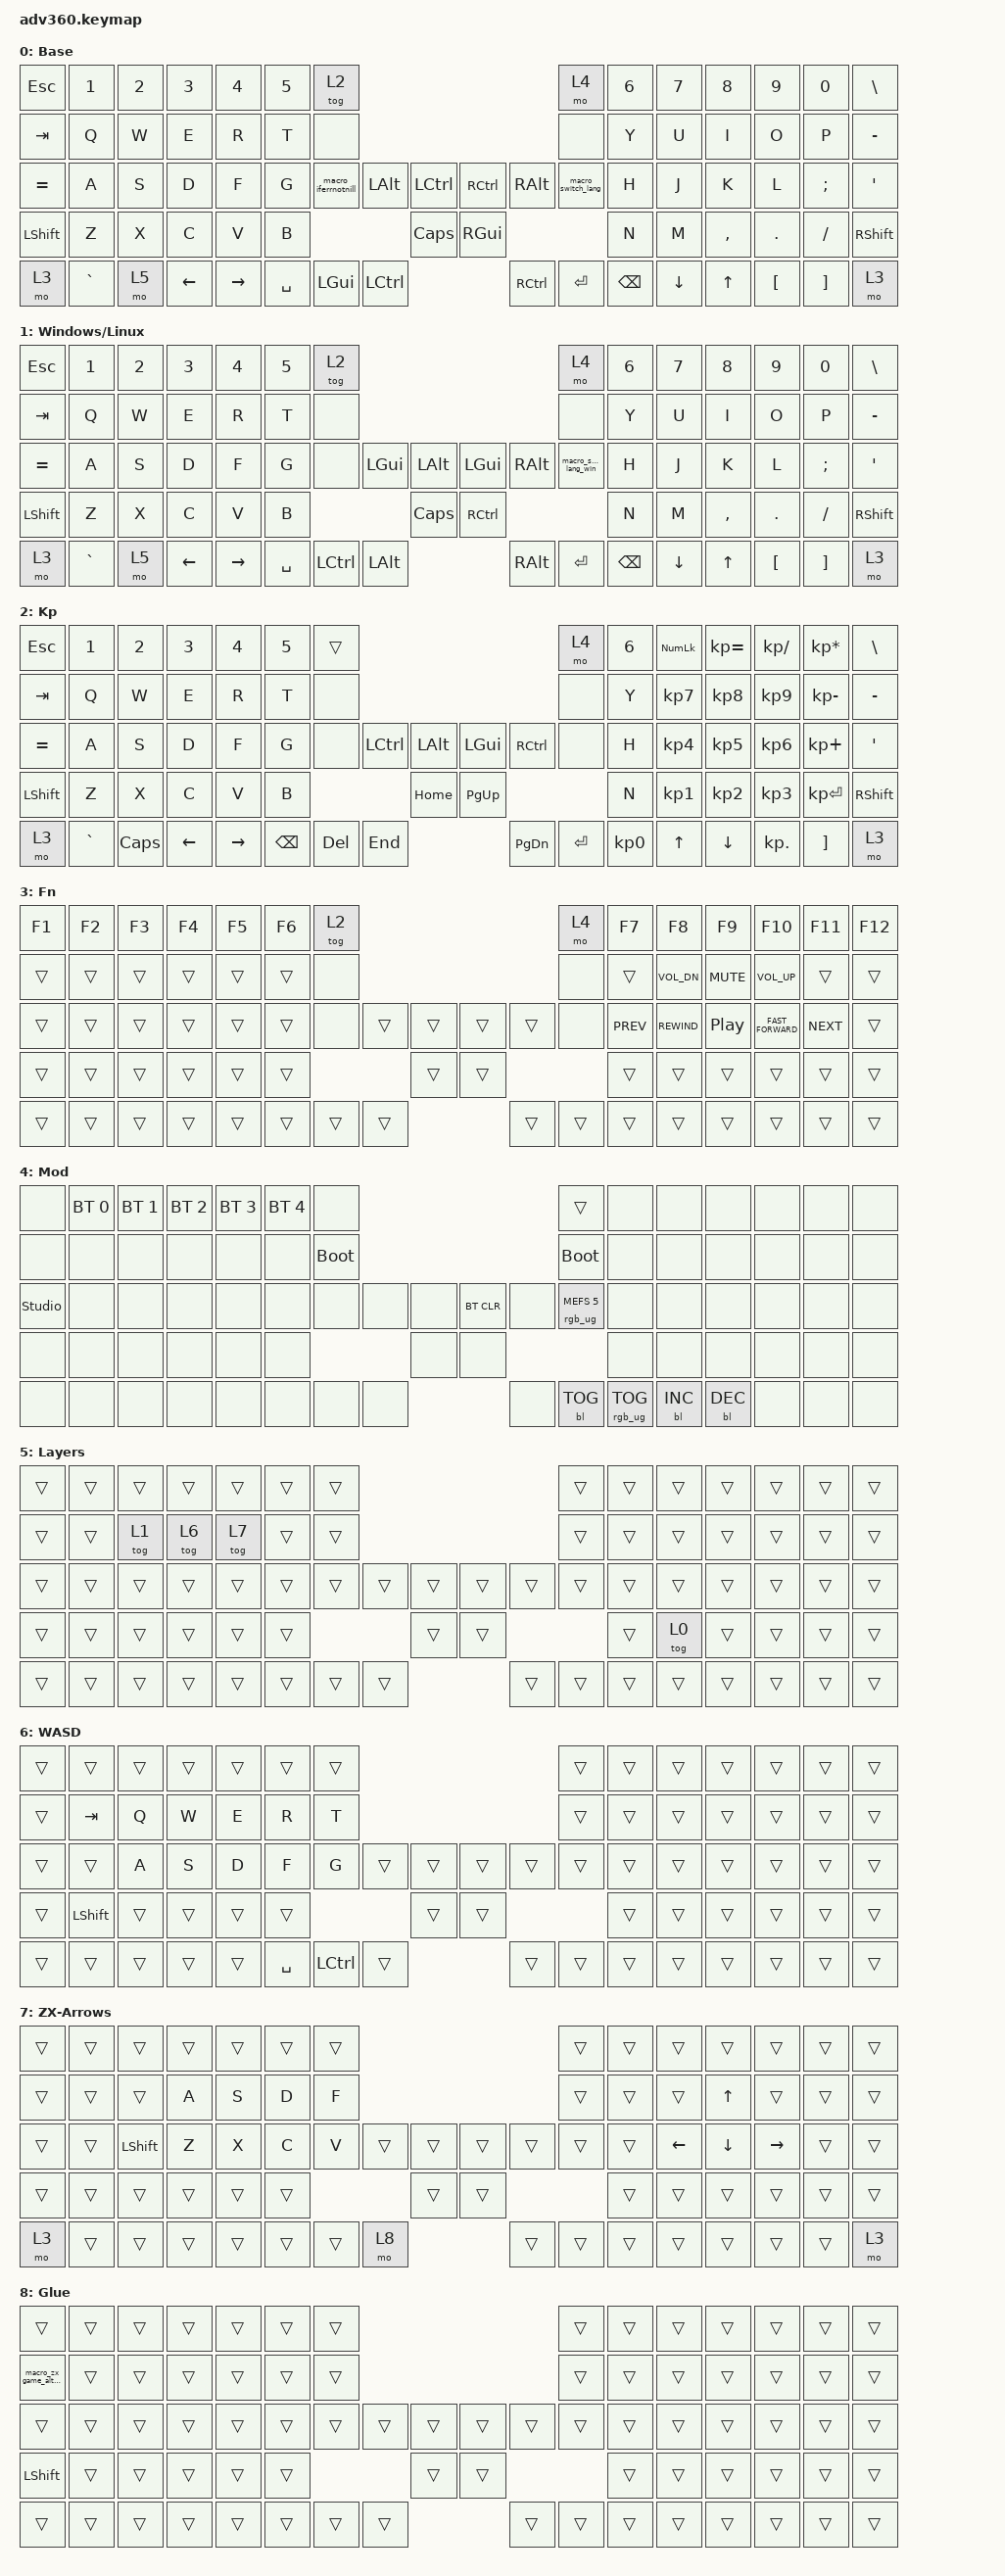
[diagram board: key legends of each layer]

/*
 * Copyright (c) 2020 The ZMK Contributors
 *
 * SPDX-License-Identifier: MIT
 */


/* THIS FILE WAS GENERATED!
 *
 * This file was generated automatically. You may or may not want to
 * edit it directly.
 */

#include <behaviors.dtsi>
#include <dt-bindings/zmk/keys.h>
#include <dt-bindings/zmk/bt.h>
#include <dt-bindings/zmk/rgb.h>
#include <dt-bindings/zmk/stp.h>
#include <dt-bindings/zmk/backlight.h>
#include <dt-bindings/zmk/pointing.h>

/ {
  behaviors {
    #include "macros.dtsi"
    #include "version.dtsi"

    hm: homerow_mods {
        compatible = "zmk,behavior-hold-tap";
        label = "HOMEROW_MODS";
        #binding-cells = <2>;
        tapping-term-ms = <200>;
        quick_tap_ms = <175>;
        flavor = "tap-preferred";
        bindings = <&kp>, <&kp>;
    };
  };

  keymap {
    compatible = "zmk,keymap";

    default_layer {
      display-name = "Base";
      bindings = <
        &kp ESC     &kp N1      &kp N2 &kp N3   &kp N4    &kp N5 &tog 2                                                                                &mo 4              &kp N6  &kp N7   &kp N8    &kp N9   &kp N0   &kp BSLH
        &kp TAB     &kp Q       &kp W  &kp E    &kp R     &kp T  &none                                                                                 &none              &kp Y   &kp U    &kp I     &kp O    &kp P    &kp MINUS
        &kp EQUAL   &kp A       &kp S  &kp D    &kp F     &kp G  &macro_iferrnotnill             &kp LALT  &kp LCTRL &kp RCTRL &kp RALT                &macro_switch_lang &kp H   &kp J    &kp K     &kp L    &kp SEMI &kp SQT
        &kp LSHFT   &kp Z       &kp X  &kp C    &kp V     &kp B                                            &kp CAPS  &kp RGUI                                             &kp N   &kp M    &kp COMMA &kp DOT  &kp FSLH &kp RSHFT
        &mo 3       &kp GRAVE   &mo 5  &kp LEFT &kp RIGHT                             &kp SPACE  &kp LGUI  &kp LCTRL &kp RCTRL &kp ENTER &kp BACKSPACE                            &kp DOWN &kp UP    &kp LBKT &kp RBKT &mo 3
      >;
    };

    layer_windows_linux {
      display-name = "Windows/Linux";
      bindings = <
        &kp ESC     &kp N1  &kp N2    &kp N3     &kp N4  &kp N5               &tog 2                                                                              &mo 4  &kp N6    &kp N7     &kp N8    &kp N9    &kp N0   &kp BSLH
        &kp TAB      &kp Q   &kp W     &kp E      &kp R   &kp T                &none                                                                              &none   &kp Y     &kp U      &kp I     &kp O     &kp P  &kp MINUS
        &kp EQUAL      &kp A   &kp S     &kp D      &kp F   &kp G                &none   &kp LGUI  &kp LALT                   &kp LGUI   &kp RALT  &macro_switch_lang_win   &kp H     &kp J      &kp K     &kp L  &kp SEMI    &kp SQT
        &kp LSHFT      &kp Z   &kp X     &kp C      &kp V   &kp B                                  &kp CAPS                  &kp RCTRL                                      &kp N     &kp M  &kp COMMA   &kp DOT  &kp FSLH  &kp RSHFT
         &mo 3  &kp GRAVE   &mo 5  &kp LEFT  &kp RIGHT                    &kp SPACE  &kp LCTRL  &kp LALT                   &kp RALT  &kp ENTER           &kp BACKSPACE          &kp DOWN     &kp UP  &kp LBKT  &kp RBKT      &mo 3
      >;
    };

    layer_keypad {
      display-name = "Kp";
        bindings = <
          &kp ESC     &kp N1    &kp N2    &kp N3     &kp N4  &kp N5              &trans                                                                 &mo 4  &kp N6  &kp KP_NUM  &kp KP_EQUAL  &kp KP_DIVIDE  &kp KP_MULTIPLY   &kp BSLH
          &kp TAB      &kp Q     &kp W     &kp E      &kp R   &kp T               &none                                                                 &none   &kp Y   &kp KP_N7     &kp KP_N8      &kp KP_N9     &kp KP_MINUS  &kp MINUS
          &kp EQUAL      &kp A     &kp S     &kp D      &kp F   &kp G               &none  &kp LCTRL  &kp LALT                   &kp LGUI  &kp RCTRL      &none   &kp H   &kp KP_N4     &kp KP_N5      &kp KP_N6      &kp KP_PLUS    &kp SQT
          &kp LSHFT      &kp Z     &kp X     &kp C      &kp V   &kp B                                 &kp HOME                  &kp PG_UP                         &kp N   &kp KP_N1     &kp KP_N2      &kp KP_N3     &kp KP_ENTER  &kp RSHFT
           &mo 3  &kp GRAVE  &kp CAPS  &kp LEFT  &kp RIGHT                    &kp BSPC    &kp DEL   &kp END                  &kp PG_DN  &kp ENTER  &kp KP_N0              &kp UP      &kp DOWN     &kp KP_DOT         &kp RBKT      &mo 3
        >;
    };

    layer_fn {
      display-name = "Fn";
      bindings = <
        &kp F1  &kp F2  &kp F3  &kp F4  &kp F5  &kp F6            &tog 2                                                   &mo 4      &kp F7        &kp F8            &kp F9             &kp F10     &kp F11  &kp F12
        &trans  &trans  &trans  &trans  &trans  &trans             &none                                                   &none      &trans  &kp C_VOL_DN        &kp C_MUTE        &kp C_VOL_UP      &trans   &trans
        &trans  &trans  &trans  &trans  &trans  &trans             &none  &trans  &trans                  &trans  &trans   &none  &kp C_PREV  &kp C_REWIND  &kp C_PLAY_PAUSE  &kp C_FAST_FORWARD  &kp C_NEXT   &trans
        &trans  &trans  &trans  &trans  &trans  &trans                            &trans                  &trans                      &trans        &trans            &trans              &trans      &trans   &trans
        &trans  &trans  &trans  &trans  &trans                    &trans  &trans  &trans                  &trans  &trans  &trans                    &trans            &trans              &trans      &trans   &trans
      >;
    };

    layer_mod {
      display-name = "Mod";
      bindings = <
        &none  &bt BT_SEL 0  &bt BT_SEL 1  &bt BT_SEL 2  &bt BT_SEL 3  &bt BT_SEL 4                  &none                                                                          &trans   &none       &none       &none   &none   &none   &none
        &none         &none         &none         &none         &none         &none            &bootloader                                                                     &bootloader   &none       &none       &none   &none   &none   &none
        &studio_unlock         &none         &none         &none         &none         &none                  &none   &none   &none                  &bt BT_CLR       &none  &rgb_ug RGB_MEFS_CMD 5   &none       &none       &none   &none   &none   &none
        &none         &none         &none         &none         &none         &none                                  &none                       &none                                       &none       &none       &none   &none   &none   &none
        &none         &none         &none         &none         &none                                &none   &none   &none                       &none  &bl BL_TOG         &rgb_ug RGB_TOG          &bl BL_INC  &bl BL_DEC   &none   &none   &none
      >;
    };

    layer_LAYERS {
      display-name = "Layers";
      bindings = <
&trans  &trans  &trans  &trans  &trans  &trans            &trans                                                  &trans  &trans  &trans  &trans  &trans  &trans  &trans
&trans  &trans  &tog 1  &tog 6  &tog 7  &trans            &trans                                                  &trans  &trans  &trans  &trans  &trans  &trans  &trans
&trans  &trans  &trans  &trans  &trans  &trans            &trans  &trans  &trans                  &trans  &trans  &trans  &trans  &trans  &trans  &trans  &trans  &trans
&trans  &trans  &trans  &trans  &trans  &trans                            &trans                  &trans                  &trans  &tog 0  &trans  &trans  &trans  &trans
&trans  &trans  &trans  &trans  &trans                    &trans  &trans  &trans                  &trans  &trans  &trans          &trans  &trans  &trans  &trans  &trans
      >;
    };

    layer_WASD_GAMING {
      display-name = "WASD";
      bindings = <
&trans          &trans  &trans  &trans  &trans  &trans               &trans                                                     &trans  &trans  &trans  &trans  &trans  &trans  &trans
&trans         &kp TAB   &kp Q   &kp W   &kp E   &kp R                &kp T                                                     &trans  &trans  &trans  &trans  &trans  &trans  &trans
&trans          &trans   &kp A   &kp S   &kp D   &kp F                &kp G     &trans  &trans                  &trans  &trans  &trans  &trans  &trans  &trans  &trans  &trans  &trans
&trans  &kp LEFT_SHIFT  &trans  &trans  &trans  &trans                                  &trans                  &trans                  &trans  &trans  &trans  &trans  &trans  &trans
&trans          &trans  &trans  &trans  &trans                    &kp SPACE  &kp LCTRL  &trans                  &trans  &trans  &trans          &trans  &trans  &trans  &trans  &trans
      >;
    };

    layer_ZX_ARROWS_GAMING {
      display-name = "ZX-Arrows";
        bindings = <
&trans  &trans      &trans  &trans  &trans  &trans            &trans                                                  &trans  &trans          &trans          &trans           &trans  &trans  &trans
&trans  &trans      &trans   &kp A   &kp S   &kp D             &kp F                                                  &trans  &trans          &trans    &kp UP_ARROW           &trans  &trans  &trans
&trans  &trans  &kp LSHIFT   &kp Z   &kp X   &kp C             &kp V  &trans  &trans                  &trans  &trans  &trans  &trans  &kp LEFT_ARROW  &kp DOWN_ARROW  &kp RIGHT_ARROW  &trans  &trans
&trans  &trans      &trans  &trans  &trans  &trans                            &trans                  &trans                  &trans          &trans          &trans           &trans  &trans  &trans
&mo 3  &trans      &trans  &trans  &trans                    &trans  &trans   &mo 8                  &trans  &trans  &trans                  &trans          &trans           &trans  &trans   &mo 3
        >;
    };

    layer_GLUE_LAYER {
      display-name = "Glue";
      bindings = <
           &trans  &trans  &trans  &trans  &trans  &trans            &trans                                                  &trans  &trans  &trans  &trans  &trans  &trans  &trans
      &macro_zx_game_alt_tab  &trans  &trans  &trans  &trans  &trans            &trans                                                  &trans  &trans  &trans  &trans  &trans  &trans  &trans
           &trans  &trans  &trans  &trans  &trans  &trans            &trans  &trans  &trans                  &trans  &trans  &trans  &trans  &trans  &trans  &trans  &trans  &trans
      &kp LEFT_SHIFT  &trans  &trans  &trans  &trans  &trans                            &trans                  &trans                  &trans  &trans  &trans  &trans  &trans  &trans
           &trans  &trans  &trans  &trans  &trans                    &trans  &trans  &trans                  &trans  &trans  &trans          &trans  &trans  &trans  &trans  &trans
      >;
    };
  };
};
